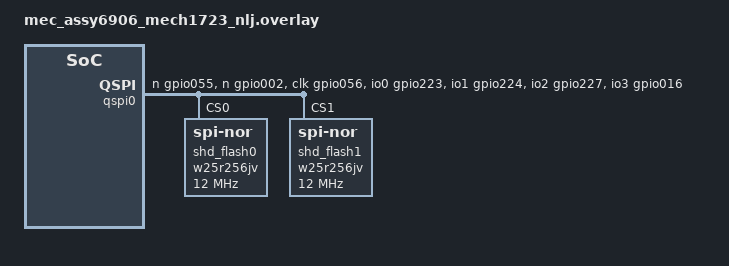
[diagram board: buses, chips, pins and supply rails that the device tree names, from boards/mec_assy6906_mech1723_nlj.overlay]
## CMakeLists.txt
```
# SPDX-License-Identifier: Apache-2.0

cmake_minimum_required(VERSION 3.20.0)

find_package(Zephyr REQUIRED HINTS $ENV{ZEPHYR_BASE})
project(espi_target_taf)

FILE(GLOB app_sources src/*.c)
target_sources(app PRIVATE ${app_sources})
```

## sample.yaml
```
sample:
  name: Exercise eSPI driver connected to real eSPI Host controller
tests:
  sample.boards.mchp_mec5.espi_target_taf:
    build_only: true
    platform_allow:
      - mec_assy6906/mech1723_nsz
      - mec_assy6906/mech1723_nlj
      - mec_assy6941/mec1743_qlj
      - mec_assy6941/mec1743_qsz
      - mec_assy6941/mec1753_qlj
      - mec_assy6941/mec1753_qsz
    tags: drivers espi
```

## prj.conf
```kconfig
CONFIG_LOG=y
CONFIG_LOG_MODE_IMMEDIATE=y
#CONFIG_LOG_MODE_MINIMAL=y
# !!! WARNING: deferred and buffer size not working.
# !!! log_panic() does not output messages.
#CONFIG_LOG_MODE_DEFERRED=y
#CONFIG_LOG_BUFFER_SIZE=4096
CONFIG_LOG_BACKEND_UART=y
#CONFIG_LOG_BACKEND_SWO=y
#CONFIG_LOG_BACKEND_SWO_REF_FREQ_HZ=96000000
#CONFIG_LOG_BACKEND_SWO_FREQ_HZ=4000000

CONFIG_GPIO=y
CONFIG_PINCTRL=y
CONFIG_LED=y
CONFIG_SPI=y
CONFIG_SERIAL=y
CONFIG_CONSOLE=y
CONFIG_UART_CONSOLE=y
CONFIG_I2C=y
CONFIG_FLASH=y
CONFIG_SPI_NOR=y
# spi-nor driver detects if flash supports 32-bit addressing and enables it
CONFIG_SPI_NOR_SFDP_RUNTIME=y
CONFIG_FLASH_JESD216_API=y

CONFIG_ESPI=y
CONFIG_ESPI_MEC5=y
CONFIG_ESPI_PERIPHERAL_8042_KBC=y
CONFIG_ESPI_PERIPHERAL_EC_HOST_CMD=y
CONFIG_ESPI_PERIPHERAL_ACPI_SHM_REGION=y
CONFIG_ESPI_PERIPHERAL_CUSTOM_OPCODE=y
CONFIG_ESPI_AUTOMATIC_WARNING_ACKNOWLEDGE=n
CONFIG_ESPI_AUTOMATIC_BOOT_DONE_ACKNOWLEDGE=n
# driver debug messages
# CONFIG_ESPI_LOG_LEVEL_DBG=y
CONFIG_ESPI_TAF=y
CONFIG_ESPI_TAF_MEC5=y

# test build
CONFIG_ADC=y
CONFIG_DMA=y
CONFIG_I2C=y
CONFIG_PWM=y
CONFIG_SENSOR=y
CONFIG_TACH_MEC5=y

CONFIG_PM=n

# Tinycrypt software library
# CONFIG_TINYCRYPT=y
# CONFIG_TINYCRYPT_SHA256=y
# CONFIG_TINYCRYPT_SHA256_HMAC=y
# CONFIG_TINYCRYPT_SHA256_HMAC_PRNG=y

# Help debug new code
# CONFIG_DEBUG_COREDUMP=y
# CONFIG_TRAP_UNALIGNED_ACCESS=y
# CONFIG_DEBUG=y
```

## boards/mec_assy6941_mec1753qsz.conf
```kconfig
CONFIG_ESPI_TAF_MEC5_RPMC_SUPPORT=y
```

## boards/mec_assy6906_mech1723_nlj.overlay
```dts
/*
 * Copyright (c) 2025 Microchip Technology Inc.
 *
 * SPDX-License-Identifier: Apache-2.0
 */

/* mec_assy6906 EVB with MEC1723N-LJ daughter card
 * MEC1723 does not have an internal SPI flash.
 */

#include "mec_common.dtsi"

&qspi0 {
	compatible = "microchip,mec5-qspi";
	status = "okay";
	pinctrl-0 = < &qspi_shd_cs0_n_gpio055
		      &qspi_shd_cs1_n_gpio002
		      &qspi_shd_clk_gpio056
		      &qspi_shd_io0_gpio223
		      &qspi_shd_io1_gpio224
		      &qspi_shd_io2_gpio227
		      &qspi_shd_io3_gpio016 >;
	pinctrl-names = "default";

	/* RPMC capable flash connected to chip select 0 */
	shd_flash0: w25r256jv@0 {
		compatible ="jedec,spi-nor";
		/* 32 Mbit Flash */
		size = <DT_SIZE_M(32)>;
		page-size = <256>;
		reg = <0>;
		spi-max-frequency = <DT_FREQ_M(12)>;
		has-dpd;
		t-enter-dpd = <3000>;
		t-exit-dpd = <3000>;
		status = "okay";
		jedec-id = [ef 40 19];
	};

	/* RPMC capable flash connected to chip select 1 */
	shd_flash1: w25r256jv@1 {
		compatible ="jedec,spi-nor";
		/* 32 Mbit Flash */
		size = <DT_SIZE_M(32)>;
		page-size = <256>;
		reg = <1>;
		spi-max-frequency = <DT_FREQ_M(12)>;
		has-dpd;
		t-enter-dpd = <3000>;
		t-exit-dpd = <3000>;
		status = "okay";
		jedec-id = [ef 40 19];
	};
};

&vw_slp_s3_n {
	reset-state = <1>;
};

&vw_slp_s4_n {
	reset-state = <1>;
};

&vw_slp_s5_n {
	reset-state = <1>;
};

&vw_sus_stat_n {
	reset-state = <1>;
};

&vw_pltrst_n {
	reset-state = <1>;
};

&vw_oob_rst_warn {
	reset-state = <1>;
};
```

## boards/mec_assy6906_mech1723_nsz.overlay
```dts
/*
 * Copyright (c) 2025 Microchip Technology Inc.
 *
 * SPDX-License-Identifier: Apache-2.0
 */

/* mec_assy6906 EVB with MEC1723N-SZ daughter card
 * MEC1723 does not have an internal SPI flash.
 */

#include "mec_common.dtsi"

&qspi0 {
	compatible = "microchip,mec5-qspi";
	status = "okay";
	pinctrl-0 = < &qspi_shd_cs0_n_gpio055
		      &qspi_shd_cs1_n_gpio002
		      &qspi_shd_clk_gpio056
		      &qspi_shd_io0_gpio223
		      &qspi_shd_io1_gpio224
		      &qspi_shd_io2_gpio227
		      &qspi_shd_io3_gpio016 >;
	pinctrl-names = "default";

	/* RPMC capable flash connected to chip select 0 */
	shd_flash0: w25r256jv@0 {
		compatible ="jedec,spi-nor";
		/* 32 Mbit Flash */
		size = <DT_SIZE_M(32)>;
		page-size = <256>;
		reg = <0>;
		spi-max-frequency = <DT_FREQ_M(12)>;
		has-dpd;
		t-enter-dpd = <3000>;
		t-exit-dpd = <3000>;
		status = "okay";
		jedec-id = [ef 40 19];
	};

	/* RPMC capable flash connected to chip select 1 */
	shd_flash1: w25r256jv@1 {
		compatible ="jedec,spi-nor";
		/* 32 Mbit Flash */
		size = <DT_SIZE_M(32)>;
		page-size = <256>;
		reg = <1>;
		spi-max-frequency = <DT_FREQ_M(12)>;
		has-dpd;
		t-enter-dpd = <3000>;
		t-exit-dpd = <3000>;
		status = "okay";
		jedec-id = [ef 40 19];
	};
};

&vw_slp_s3_n {
	reset-state = <1>;
};

&vw_slp_s4_n {
	reset-state = <1>;
};

&vw_slp_s5_n {
	reset-state = <1>;
};

&vw_sus_stat_n {
	reset-state = <1>;
};

&vw_pltrst_n {
	reset-state = <1>;
};

&vw_oob_rst_warn {
	reset-state = <1>;
};
```

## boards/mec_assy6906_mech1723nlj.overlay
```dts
/*
 * Copyright (c) 2023 Microchip Technology Inc.
 *
 * SPDX-License-Identifier: Apache-2.0
 */

/* mec_assy6906 EVB with MEC1723N-LJ daughter card
 * MEC1723 does not have an internal SPI flash.
 */

#include "mec_common.dtsi"

&qspi0 {
	compatible = "microchip,mec5-qspi";
	status = "okay";
	pinctrl-0 = < &qspi_shd_cs0_n_gpio055
		      &qspi_shd_cs1_n_gpio002
		      &qspi_shd_clk_gpio056
		      &qspi_shd_io0_gpio223
		      &qspi_shd_io1_gpio224
		      &qspi_shd_io2_gpio227
		      &qspi_shd_io3_gpio016 >;
	pinctrl-names = "default";

	/* RPMC capable flash connected to chip select 0 */
	shd_flash0: w25r256jv@0 {
		compatible ="jedec,spi-nor";
		/* 32 Mbit Flash */
		size = <DT_SIZE_M(32)>;
		page-size = <256>;
		reg = <0>;
		spi-max-frequency = <DT_FREQ_M(12)>;
		has-dpd;
		t-enter-dpd = <3000>;
		t-exit-dpd = <3000>;
		status = "okay";
		jedec-id = [ef 40 19];
	};

	/* RPMC capable flash connected to chip select 1 */
	shd_flash1: w25r256jv@1 {
		compatible ="jedec,spi-nor";
		/* 32 Mbit Flash */
		size = <DT_SIZE_M(32)>;
		page-size = <256>;
		reg = <1>;
		spi-max-frequency = <DT_FREQ_M(12)>;
		has-dpd;
		t-enter-dpd = <3000>;
		t-exit-dpd = <3000>;
		status = "okay";
		jedec-id = [ef 40 19];
	};
};

&vw_slp_s3_n {
	reset-state = <1>;
};

&vw_slp_s4_n {
	reset-state = <1>;
};

&vw_slp_s5_n {
	reset-state = <1>;
};

&vw_sus_stat_n {
	reset-state = <1>;
};

&vw_pltrst_n {
	reset-state = <1>;
};

&vw_oob_rst_warn {
	reset-state = <1>;
};
```

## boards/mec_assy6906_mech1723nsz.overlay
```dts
/*
 * Copyright (c) 2023 Microchip Technology Inc.
 *
 * SPDX-License-Identifier: Apache-2.0
 */

/* mec_assy6906 EVB with MEC1723N-SZ daughter card
 * MEC1723 does not have an internal SPI flash.
 */

#include "mec_common.dtsi"

&qspi0 {
	compatible = "microchip,mec5-qspi";
	status = "okay";
	pinctrl-0 = < &qspi_shd_cs0_n_gpio055
		      &qspi_shd_cs1_n_gpio002
		      &qspi_shd_clk_gpio056
		      &qspi_shd_io0_gpio223
		      &qspi_shd_io1_gpio224
		      &qspi_shd_io2_gpio227
		      &qspi_shd_io3_gpio016 >;
	pinctrl-names = "default";

	/* RPMC capable flash connected to chip select 0 */
	shd_flash0: w25r256jv@0 {
		compatible ="jedec,spi-nor";
		/* 32 Mbit Flash */
		size = <DT_SIZE_M(32)>;
		page-size = <256>;
		reg = <0>;
		spi-max-frequency = <DT_FREQ_M(12)>;
		has-dpd;
		t-enter-dpd = <3000>;
		t-exit-dpd = <3000>;
		status = "okay";
		jedec-id = [ef 40 19];
	};

	/* RPMC capable flash connected to chip select 1 */
	shd_flash1: w25r256jv@1 {
		compatible ="jedec,spi-nor";
		/* 32 Mbit Flash */
		size = <DT_SIZE_M(32)>;
		page-size = <256>;
		reg = <1>;
		spi-max-frequency = <DT_FREQ_M(12)>;
		has-dpd;
		t-enter-dpd = <3000>;
		t-exit-dpd = <3000>;
		status = "okay";
		jedec-id = [ef 40 19];
	};
};

&vw_slp_s3_n {
	reset-state = <1>;
};

&vw_slp_s4_n {
	reset-state = <1>;
};

&vw_slp_s5_n {
	reset-state = <1>;
};

&vw_sus_stat_n {
	reset-state = <1>;
};

&vw_pltrst_n {
	reset-state = <1>;
};

&vw_oob_rst_warn {
	reset-state = <1>;
};
```

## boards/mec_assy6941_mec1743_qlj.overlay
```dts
/*
 * Copyright (c) 2025 Microchip Technology Inc.
 *
 * SPDX-License-Identifier: Apache-2.0
 */

/* mec_assy6941 EVB with MEC1743Q-LJ daughter card
 * MEC1743 does not have an internal SPI flash.
 */

#include "mec_common.dtsi"

&qspi0 {
	compatible = "microchip,mec5-qspi";
	status = "okay";
	pinctrl-0 = < &qspi_shd_cs0_n_gpio055
		      &qspi_shd_cs1_n_gpio002
		      &qspi_shd_clk_gpio056
		      &qspi_shd_io0_gpio223
		      &qspi_shd_io1_gpio224
		      &qspi_shd_io2_gpio227
		      &qspi_shd_io3_gpio016 >;
	pinctrl-names = "default";

	/* RPMC capable flash connected to chip select 0 */
	shd_flash0: w25r256jv@0 {
		compatible ="jedec,spi-nor";
		/* 32 Mbit Flash */
		size = <DT_SIZE_M(32)>;
		page-size = <256>;
		reg = <0>;
		spi-max-frequency = <DT_FREQ_M(12)>;
		has-dpd;
		t-enter-dpd = <3000>;
		t-exit-dpd = <3000>;
		status = "okay";
		jedec-id = [ef 40 19];
	};

	/* RPMC capable flash connected to chip select 1 */
	shd_flash1: w25r256jv@1 {
		compatible ="jedec,spi-nor";
		/* 32 Mbit Flash */
		size = <DT_SIZE_M(32)>;
		page-size = <256>;
		reg = <1>;
		spi-max-frequency = <DT_FREQ_M(12)>;
		has-dpd;
		t-enter-dpd = <3000>;
		t-exit-dpd = <3000>;
		status = "okay";
		jedec-id = [ef 40 19];
	};
};

&vw_slp_s3_n {
	reset-state = <1>;
};

&vw_slp_s4_n {
	reset-state = <1>;
};

&vw_slp_s5_n {
	reset-state = <1>;
};

&vw_sus_stat_n {
	reset-state = <1>;
};

&vw_pltrst_n {
	reset-state = <1>;
};

&vw_oob_rst_warn {
	reset-state = <1>;
};
```

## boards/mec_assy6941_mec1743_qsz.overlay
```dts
/*
 * Copyright (c) 2025 Microchip Technology Inc.
 *
 * SPDX-License-Identifier: Apache-2.0
 */

/* mec_assy6941 EVB with MEC1743Q-SZ daughter card
 * MEC1743 does not have an internal SPI flash.
 */

#include "mec_common.dtsi"

&qspi0 {
	compatible = "microchip,mec5-qspi";
	status = "okay";
	pinctrl-0 = < &qspi_shd_cs0_n_gpio055
		      &qspi_shd_cs1_n_gpio002
		      &qspi_shd_clk_gpio056
		      &qspi_shd_io0_gpio223
		      &qspi_shd_io1_gpio224
		      &qspi_shd_io2_gpio227
		      &qspi_shd_io3_gpio016 >;
	pinctrl-names = "default";

	/* RPMC capable flash connected to chip select 0 */
	shd_flash0: w25r256jv@0 {
		compatible ="jedec,spi-nor";
		/* 32 Mbit Flash */
		size = <DT_SIZE_M(32)>;
		page-size = <256>;
		reg = <0>;
		spi-max-frequency = <DT_FREQ_M(12)>;
		has-dpd;
		t-enter-dpd = <3000>;
		t-exit-dpd = <3000>;
		status = "okay";
		jedec-id = [ef 40 19];
	};

	/* RPMC capable flash connected to chip select 1 */
	shd_flash1: w25r256jv@1 {
		compatible ="jedec,spi-nor";
		/* 32 Mbit Flash */
		size = <DT_SIZE_M(32)>;
		page-size = <256>;
		reg = <1>;
		spi-max-frequency = <DT_FREQ_M(12)>;
		has-dpd;
		t-enter-dpd = <3000>;
		t-exit-dpd = <3000>;
		status = "okay";
		jedec-id = [ef 40 19];
	};
};

&vw_slp_s3_n {
	reset-state = <1>;
};

&vw_slp_s4_n {
	reset-state = <1>;
};

&vw_slp_s5_n {
	reset-state = <1>;
};

&vw_sus_stat_n {
	reset-state = <1>;
};

&vw_pltrst_n {
	reset-state = <1>;
};

&vw_oob_rst_warn {
	reset-state = <1>;
};
```

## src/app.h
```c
/* Copyright (c) 2024 Microchip Technology Inc.
 * SPDX-License-Identifier: Apache-2.0
 */

#ifndef __APP_H__
#define __APP_H__

#include <stddef.h>
#include <stdint.h>

uint32_t app_flash_jedec_id(uint8_t cs);

#endif /* __APP_H__ */
```

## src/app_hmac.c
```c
/*
 * Copyright (c) 2022 Microchip Technology Inc.
 *
 * SPDX-License-Identifier: Apache-2.0
 */

#include <errno.h>
#include <soc.h>
#include <string.h>
#include <zephyr/kernel.h>
#include <zephyr/logging/log_ctrl.h>
#include <zephyr/logging/log.h>

LOG_MODULE_DECLARE(app);

#include "app_hmac.h"

#if defined(CONFIG_HAS_MEC5_HAL)
#include <mec_rom_api.h>
#elif defined(CONFIG_TINYCRYPT)
#include <tinycrypt/constants.h>
#include <tinycrypt/hmac.h>
#include <tinycrypt/hmac_prng.h>
#else
#error "BUILD ERROR: No crypto library defined in project!"
#endif

static const uint8_t hmac_key4[25] = {
	0x01, 0x02, 0x03, 0x04, 0x05, 0x06, 0x07, 0x08,
	0x09, 0x0a, 0x0b, 0x0c, 0x0d, 0x0e, 0x0f, 0x10,
	0x11, 0x12, 0x13, 0x14, 0x15, 0x16, 0x17, 0x18,
	0x19
};
static const uint8_t hmac_msg4[50] = {
	0xcd, 0xcd, 0xcd, 0xcd, 0xcd, 0xcd, 0xcd, 0xcd,
	0xcd, 0xcd, 0xcd, 0xcd, 0xcd, 0xcd, 0xcd, 0xcd,
	0xcd, 0xcd, 0xcd, 0xcd, 0xcd, 0xcd, 0xcd, 0xcd,
	0xcd, 0xcd, 0xcd, 0xcd, 0xcd, 0xcd, 0xcd, 0xcd,
	0xcd, 0xcd, 0xcd, 0xcd, 0xcd, 0xcd, 0xcd, 0xcd,
	0xcd, 0xcd, 0xcd, 0xcd, 0xcd, 0xcd, 0xcd, 0xcd,
	0xcd, 0xcd
};
static const uint8_t hmac_digest4[32] = {
	0x82, 0x55, 0x8a, 0x38, 0x9a, 0x44, 0x3c, 0x0e,
	0xa4, 0xcc, 0x81, 0x98, 0x99, 0xf2, 0x08, 0x3a,
	0x85, 0xf0, 0xfa, 0xa3, 0xe5, 0x78, 0xf8, 0x07,
	0x7a, 0x2e, 0x3f, 0xf4, 0x67, 0x29, 0x66, 0x5b
};

static const uint8_t key131[] = {
	0xaa, 0xaa, 0xaa, 0xaa, 0xaa, 0xaa, 0xaa, 0xaa,
	0xaa, 0xaa, 0xaa, 0xaa, 0xaa, 0xaa, 0xaa, 0xaa,
	0xaa, 0xaa, 0xaa, 0xaa, 0xaa, 0xaa, 0xaa, 0xaa,
	0xaa, 0xaa, 0xaa, 0xaa, 0xaa, 0xaa, 0xaa, 0xaa,
	0xaa, 0xaa, 0xaa, 0xaa, 0xaa, 0xaa, 0xaa, 0xaa,
	0xaa, 0xaa, 0xaa, 0xaa, 0xaa, 0xaa, 0xaa, 0xaa,
	0xaa, 0xaa, 0xaa, 0xaa, 0xaa, 0xaa, 0xaa, 0xaa,
	0xaa, 0xaa, 0xaa, 0xaa, 0xaa, 0xaa, 0xaa, 0xaa,
	0xaa, 0xaa, 0xaa, 0xaa, 0xaa, 0xaa, 0xaa, 0xaa,
	0xaa, 0xaa, 0xaa, 0xaa, 0xaa, 0xaa, 0xaa, 0xaa,
	0xaa, 0xaa, 0xaa, 0xaa, 0xaa, 0xaa, 0xaa, 0xaa,
	0xaa, 0xaa, 0xaa, 0xaa, 0xaa, 0xaa, 0xaa, 0xaa,
	0xaa, 0xaa, 0xaa, 0xaa, 0xaa, 0xaa, 0xaa, 0xaa,
	0xaa, 0xaa, 0xaa, 0xaa, 0xaa, 0xaa, 0xaa, 0xaa,
	0xaa, 0xaa, 0xaa, 0xaa, 0xaa, 0xaa, 0xaa, 0xaa,
	0xaa, 0xaa, 0xaa, 0xaa, 0xaa, 0xaa, 0xaa, 0xaa,
	0xaa, 0xaa, 0xaa };

static const uint8_t msg54[] = {
	0x54, 0x65, 0x73, 0x74, 0x20, 0x55, 0x73, 0x69,
	0x6e, 0x67, 0x20, 0x4c, 0x61, 0x72, 0x67, 0x65,
	0x72, 0x20, 0x54, 0x68, 0x61, 0x6e, 0x20, 0x42,
	0x6c, 0x6f, 0x63, 0x6b, 0x2d, 0x53, 0x69, 0x7a,
	0x65, 0x20, 0x4b, 0x65, 0x79, 0x20, 0x2d, 0x20,
	0x48, 0x61, 0x73, 0x68, 0x20, 0x4b, 0x65, 0x79,
	0x20, 0x46, 0x69, 0x72, 0x73, 0x74 };

static const uint8_t msg54_k131_hmac_sha256[] = {
	0x60, 0xe4, 0x31, 0x59, 0x1e, 0xe0, 0xb6, 0x7f,
	0x0d, 0x8a, 0x26, 0xaa, 0xcb, 0xf5, 0xb7, 0x7f,
	0x8e, 0x0b, 0xc6, 0x21, 0x37, 0x28, 0xc5, 0x14,
	0x05, 0x46, 0x04, 0x0f, 0x0e, 0xe3, 0x7f, 0x54 };

static int hmac_test(void)
{
	uint8_t result[32] = {0};

	int ret = app_hmac_sha256_mesg(hmac_key4, sizeof(hmac_key4),
				       hmac_msg4, sizeof(hmac_msg4),
				       result, sizeof(result));
	if (ret) {
		return ret;
	}

	ret = memcmp(result, hmac_digest4, sizeof(hmac_digest4));
	if (ret) {
		return ret;
	}

	memset(result, 0, sizeof(result));
	ret = app_hmac_sha256_mesg(key131, sizeof(key131),
				   msg54, sizeof(msg54),
				   result, sizeof(result));
	if (ret) {
		return ret;
	}

	ret = memcmp(result, msg54_k131_hmac_sha256, sizeof(msg54_k131_hmac_sha256));

	return ret;
}

#ifdef CONFIG_HAS_MEC5_HAL

K_SEM_DEFINE(sem_rom_aesh, 1, 1);

static struct mchphmac2 hmac_ctx;
static uint32_t k0[64 / 4];
static uint8_t __aligned(4) hmac_state[128];

int app_crypto_init(void)
{
	memset(&hmac_ctx, 0, sizeof(hmac_ctx));

	mec_hal_rom_crypto_enable(1);

	int ret = mec_hal_rom_rng_init();

	if (ret != 0) {
		LOG_ERR("App unable to initialize HW RNG");
		return -EIO;
	}

	mec_hal_rom_rng_enable(true);

	return 0;
}

int app_get_rand(uint8_t *dest, size_t destsz, uint16_t req_nbytes)
{
	int ret = 0;
	uint16_t nr = 0;

	if (destsz < req_nbytes) {
		return -EINVAL;
	}

	if (!mec_hal_rom_rng_is_fifo_full()) {
		return -EBUSY;
	}

	if (!mec_hal_rom_rng_is_healthy()) {
		return -EIO;
	}

	ret = mec_hal_rom_rng_read_bytes_nh(dest, req_nbytes, &nr);

	if (ret || (nr < req_nbytes)) {
		return -EIO;
	}

	return 0;
}

/* Any of the three ROM HMAC2 calls could start the HW engine.
 * We must call ROM hash wait which returns immediately if the engine was not started.
 */
int app_hmac_sha256_mesg(const uint8_t *key, size_t keysz,
			 const uint8_t *msg, size_t msgsz,
			 uint8_t *result, size_t resultsz)
{
	int ret = 0;

	k_sem_take(&sem_rom_aesh, K_FOREVER);

	ret = mec_hal_rom_hmac2_init(MCHP_HASH_ALG_SHA256, &hmac_ctx, key, keysz, k0, sizeof(k0));
	if (ret != 0) {
		ret = -EIO;
		goto app_hmac_sha256_mesg_exit;
	}

	ret = mec_hal_rom_hash_wait(&hmac_ctx.c);
	if (ret != 0) {
		LOG_ERR("Hash wait1 unexpected return code: (%d)", ret);
		ret = -ETIMEDOUT;
		goto app_hmac_sha256_mesg_exit;
	}

	ret = mec_hal_rom_hmac2_add_data_block(&hmac_ctx, hmac_state, sizeof(hmac_state),
					       k0, sizeof(k0), msg, msgsz, true);
	if (ret != 0) {
		ret = -EIO;
		goto app_hmac_sha256_mesg_exit;
	}

	ret = mec_hal_rom_hash_wait(&hmac_ctx.c);
	if (ret != 0) {
		LOG_ERR("Hash wait2 unexpected return code: (%d)", ret);
		ret = -ETIMEDOUT;
		goto app_hmac_sha256_mesg_exit;
	}

	ret = mec_hal_rom_hmac2_final(&hmac_ctx, hmac_state, sizeof(hmac_state), k0, sizeof(k0),
				      result, resultsz);
	if (ret != 0) {
		ret = -EIO;
		goto app_hmac_sha256_mesg_exit;
	}

	ret = mec_hal_rom_hash_wait(&hmac_ctx.c);
	if (ret != 0) {
		LOG_ERR("Hash wait3 unexpected return code: (%d)", ret);
		ret = -ETIMEDOUT;
	}

app_hmac_sha256_mesg_exit:
	k_sem_give(&sem_rom_aesh);

	return ret;
}

int app_hmac_test(void)
{
	return hmac_test();
}

#elif CONFIG_TINYCRYPT_SHA256_HMAC

static const char tc_hprng0_ps[] = "TC HPRNG0 PS";
/* TinyCrypt HMAC PRNG minimum seed length is 32 bytes */
static const char tc_hprng0_seed[] = "TC SEED minimum Length is 32 bytes";
static const char tc_hprng0_addin[] = "TC ADDITIONAL INPUT0";

struct tc_hmac_prng_struct tc_hprng0;

int app_crypto_init(void)
{
	int ret = tc_hmac_prng_init(&tc_hprng0, tc_hprng0_ps, sizeof(tc_hprng0_ps));

	if (ret == TC_CRYPTO_SUCCESS) {
		return 0;
	}

	return -EIO;
}

int app_get_rand(uint8_t *dest, size_t destsz, size_t req_nbytes)
{
	int ret;

	if (destsz < req_nbytes) {
		return -EINVAL;
	}

	ret = tc_hmac_prng_generate(dest, (unsigned int)req_nbytes, &tc_hprng0);
	if (ret == TC_CRYPTO_SUCCESS) {
		ret = 0;
	} else if (ret == TC_HMAC_PRNG_RESEED_REQ) {
		ret = tc_hmac_prng_reseed(&tc_hprng0, tc_hprng0_seed, sizeof(tc_hprng0_seed),
					  tc_hprng0_addin, sizeof(tc_hprng0_addin));
		if (ret == TC_CRYPTO_SUCCESS) {
			ret = tc_hmac_prng_generate(dest, (unsigned int)req_nbytes, &tc_hprng0);
			if (ret == TC_CRYPTO_SUCCESS) {
				ret = 0;
			} else {
				ret = -EIO;
			}
		} else {
			ret = -EIO;
		}
	} else {
		ret = -EIO;
	}

	return ret;
}

int app_hmac_sha256_mesg(const uint8_t *key, size_t keysz,
			 const uint8_t *msg, size_t msgsz,
			 uint8_t *result, size_t resultsz)
{
	struct tc_hmac_state_struct hctx;
	int ret = tc_hmac_set_key(&hctx, key, keysz);

	if (ret != TC_CRYPTO_SUCCESS) {
		return -EINVAL;
	}

	ret = tc_hmac_init(&hctx);
	if (ret != TC_CRYPTO_SUCCESS) {
		return -EINVAL;
	}

	ret = tc_hmac_update(&hctx, msg, msgsz);
	if (ret != TC_CRYPTO_SUCCESS) {
		return -EINVAL;
	}

	ret = tc_hmac_final(result, resultsz, &hctx);
	if (ret != TC_CRYPTO_SUCCESS) {
		return -EINVAL;
	}

	return 0;
}

int app_hmac_test(void)
{
	return hmac_test();
}

#else

int app_crypto_init(void)
{
	return -ENOSYS;
}

int app_hmac_sha256_mesg(const uint8_t *key, size_t keysz,
			 const uint8_t *msg, size_t msgsz,
			 uint8_t *result, size_t resultsz)
{
	return -ENOSYS;
}

int app_hmac_test(void)
{
	return -ENOSYS;
}
#endif
```

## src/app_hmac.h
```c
/* Copyright (c) 2024 Microchip Technology Inc.
 * SPDX-License-Identifier: Apache-2.0
 */

#ifndef __APP_HMAC_H__
#define __APP_HMAC_H__

#include <stddef.h>
#include <stdint.h>

int app_crypto_init(void);

int app_get_rand(uint8_t *dest, size_t destsz, uint16_t req_nbytes);

int app_hmac_sha256_mesg(const uint8_t *key, size_t keysz,
			 const uint8_t *msg, size_t msgsz,
			 uint8_t *result, size_t resultsz);

int app_hmac_test(void);

#endif /* __APP_HMAC_H__ */
```

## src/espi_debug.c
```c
/*
 * Copyright (c) 2023 Microchip Technology, Inc.
 *
 * SPDX-License-Identifier: Apache-2.0
 */

#include <errno.h>
#include <stdint.h>
#include <string.h>

#include <soc.h>

#include <zephyr/device.h>
#include <zephyr/devicetree.h>
#include <zephyr/kernel.h>
#include <zephyr/drivers/gpio.h>
#include <zephyr/drivers/pinctrl.h>
#include <zephyr/sys/sys_io.h>

#include <zephyr/logging/log_ctrl.h>
#include <zephyr/logging/log.h>
LOG_MODULE_DECLARE(app);

#include "espi_debug.h"

const char *iobar_names[] = {
	"eSPI Config Port IOB",
	"eSPI Mem Port IOB",
	"Mailbox IOB",
	"KBC IOB",
	"ACPI EC0 IOB",
	"ACPI EC1 IOB",
	"ACPI EC2 IOB",
	"ACPI EC3 IOB",
	"ACPI EC4 IOB",
	"ACPI PM1 IOB",
	"KB Port92h IOB",
	"UART0 IOB",
	"UART1 IOB",
	"EMI0 IOB",
	"EMI1 IOB",
	"EMI2 IOB",
	"BIOS Debug IOB",
	"BIOS Debug Alias IOB",
	"RTC IOB",
	"Reserved19",
	"T32B IOB",
	"UART2 IOB",
	"Glue IOB",
	"UART3 IOB",
	"Reserved24",
	"Reserved25",
	"Reserved26",
	"Reserved27",
	"Reserved28",
	"Reserved29",
	"Reserved30",
	"Reserved31",
};

const char *membar_names[] = {
	"Mailbox MEMB",
	"ACPI EC0 MEMB",
	"ACPI EC1 MEMB",
	"ACPI EC2 MEMB",
	"ACPI EC3 MEMB",
	"ACPI EC4 MEMB",
	"EMI0 MEMB",
	"EMI1 MEMB",
	"EMI2 MEMB",
	"T32B MEMB",
};

void espi_debug_print_config(void)
{
	mem_addr_t maddr;
	uint32_t data;

	maddr = (mem_addr_t)&MEC_ESPI_IO->CAPID;
	data = sys_read32(maddr);
	LOG_HEXDUMP_INF(&data, 4, "eSPI CapID:Cap0:Cap1:PC_Cap");

	maddr = (mem_addr_t)&MEC_ESPI_IO->CAPVW;
	data = sys_read32(maddr);
	LOG_HEXDUMP_INF(&data, 4, "eSPI VW_Cap:OOB_Cap:FC_Cap:PCRDY");

	maddr = (mem_addr_t)&MEC_ESPI_IO->OOBRDY;
	data = sys_read32(maddr);
	LOG_HEXDUMP_INF(&data, 4, "eSPI OOBRDY:FCRDY:ERIS:ERIE");

	maddr = (mem_addr_t)&MEC_ESPI_IO->PLTRST_SRC;
	data = sys_read32(maddr);
	LOG_HEXDUMP_INF(&data, 4, "eSPI PLTRST_SRC:VWRDY:SAFEBS:RSVD");

	LOG_INF("eSPI Activate = %u", MEC_ESPI_IO->ACTV);

	LOG_INF("eSPI PC.Status = 0x%08x", MEC_ESPI_IO->PCSTS);
	LOG_INF("eSPI VW.Status = 0x%02x", MEC_ESPI_IO->VWSTS);
}

void espi_debug_print_io_bars(void)
{
	uint32_t n, iobar;

	for (n = 0; n < 32u; n++) {
		if (BIT(n) & MEC5_ESPI_IOBAR_MSK_LO) {
			iobar = MEC_ESPI_IO->HOST_BAR[n];
			LOG_INF("IOBAR[%u] (%s) = 0x%08x", n, iobar_names[n], iobar);
		}
	}
}

void espi_debug_print_mem_bars(void)
{
	uint32_t n, membar;

	for (n = 0; n < 32u; n++) {
		if (BIT(n) & MEC5_ESPI_MEMBAR_MSK_LO) {
			volatile struct mec_espi_mem_host_mem_bar_regs *m =
				&MEC_ESPI_MEM->HOST_MEM_BAR[n];

			membar = m->HOST_MEM_ADDR_B15_0 +
				((uint32_t)m->HOST_MEM_ADDR_B31_16 << 16);
			LOG_INF("MEMBAR[%u] (%s) = 0x%08x valid = %u",
				n, membar_names[n], membar, m->VALID);
		}
	}
}

void espi_debug_print_ctvw(void)
{
	uint32_t r[3];

	for (size_t n = 0; n < MEC5_ESPI_NUM_CTVW; n++) {
		r[0] = MEC_ESPI_VW->CTVW[n].HIRSS;
		r[1] = MEC_ESPI_VW->CTVW[n].SRC_ISELS;
		r[2] = MEC_ESPI_VW->CTVW[n].STATES;
		LOG_INF("CTVW[%u] = 0x%08x:%08x:%08x", n, r[2], r[1], r[0]);
	}
}

void espi_debug_print_tcvw(void)
{
	uint32_t r[2];

	for (size_t n = 0; n < MEC5_ESPI_NUM_TCVW; n++) {
		r[0] = MEC_ESPI_VW->TCVW[n].HIRCS;
		r[1] = MEC_ESPI_VW->TCVW[n].STATES;
		LOG_INF("TCVW[%u] = 0x%08x:%08x", n, r[1], r[0]);
	}
}

void espi_debug_print_pc(void)
{
	LOG_INF("PC.STATUS = 0x%x", MEC_ESPI_IO->PCSTS);
	LOG_INF("PC.IEN    = 0x%x", MEC_ESPI_IO->PCIEN);
	LOG_INF("PC.BAR_INHIBIT = 0x%08x:%08x",
		MEC_ESPI_IO->PCBINH[1], MEC_ESPI_IO->PCBINH[0]);
}

void espi_debug_print_oob(void)
{
	LOG_INF("OOB RX Buf Addr = 0x%x", MEC_ESPI_IO->OOBRXA);
	LOG_INF("OOB RX Xfr Len = 0x%x", MEC_ESPI_IO->OOBRXL);
	LOG_INF("OOB RX Control = 0x%x", MEC_ESPI_IO->OOBRXC);
	LOG_INF("OOB RX IEN = 0x%x", MEC_ESPI_IO->OOBRXIEN);
	LOG_INF("OOB RX Status = 0x%x", MEC_ESPI_IO->OOBRXSTS);
	LOG_INF("OOB TX Buf Addr = 0x%x", MEC_ESPI_IO->OOBTXA);
	LOG_INF("OOB TX Xfr Len = 0x%x", MEC_ESPI_IO->OOBTXL);
	LOG_INF("OOB TX Control = 0x%x", MEC_ESPI_IO->OOBTXC);
	LOG_INF("OOB TX IEN = 0x%x", MEC_ESPI_IO->OOBTXIEN);
	LOG_INF("OOB TX Status = 0x%x", MEC_ESPI_IO->OOBTXSTS);
}

static int espi_freq_tbl[] = {20, 25, 33, 50, 66, -1, -1, -1};

static int lookup_espi_freq(uint32_t freq_encoding)
{
	return espi_freq_tbl[freq_encoding & 0x7u];
}

static void pr_io_mode(uint32_t io_mode)
{
	switch (io_mode) {
	case 0:
		LOG_INF("  Single I/O");
		break;
	case 1:
		LOG_INF("  Single and Dual I/O");
		break;
	case 2:
		LOG_INF("  Single and Quad I/O");
		break;
	case 3:
		LOG_INF("  Single, Dual, and Quad I/O");
		break;
	default:
		break;
	}
}

/* eSPI Capabilities 32-bit word 0x4 read by eSPI Host */
static void pr_cap_8(uint32_t cap)
{
	uint32_t temp;

	LOG_INF("eSPI Cap word 0x8: 0x%08x", cap);
	LOG_INF("  b[7:0] supported channels = 0x%02x", cap & 0xffu);
	temp = (cap >> 12) & 0xfu;
	LOG_INF("  b[15:12] max allowed wait states (0=16 byte times) = 0x%02x", temp);
	temp = lookup_espi_freq((cap >> 16));
	LOG_INF("  b[18:16] max supported freq (MHz) = 0x%02x is %u MHz",
		((cap >> 16) & 0x7u), temp);
	LOG_INF("  b[19] = Open drain alert supported = %u", (cap >> 19) & 0x1u);
	temp = lookup_espi_freq((cap >> 20));
	LOG_INF("  b[22:20] selected frequency (MHz) = 0x%02x", temp);
	LOG_INF("  b[19] = Open drain alert selected = %u", (cap >> 23) & 0x1u);
	temp = (cap >> 24) & 0x3u;
	LOG_INF("  b[25:24] = 0x%02x Supported I/O modes", temp);
	pr_io_mode(temp);
	temp = (cap >> 26) & 0x3u;
	LOG_INF("  b[27:26] = 0x%02x Selected I/O mode", temp);
	pr_io_mode(temp);
	temp = (cap >> 28) & 0x1u;
	LOG_INF("  b[28] = %u : eSPI Alert source 0(eSPI IO[1]), 1(separate pin)", temp);
	temp = (cap >> 29) & 0x1u;
	LOG_INF("  b[29] = %u : BMC has integrated RTC 0(no), 1(yes)", temp);
	temp = (cap >> 30) & 0x1u;
	LOG_INF("  b[30] = %u : GET_STATUS response modifier 0(disabled), 1(enabled)", temp);
	temp = (cap >> 31) & 0x1u;
	LOG_INF("  b[31] = %u : CRC packet check 0(disabled), 1(enabled)", temp);
}

static void pr_payload_size(uint32_t sz, uint8_t is_oob)
{
	uint32_t byte_size;

	switch (sz & 0x7u) {
	case 1:
		byte_size = 64u;
		break;
	case 2:
		byte_size = 128u;
		break;
	case 3:
		byte_size = 256u;
		break;
	default:
		byte_size = 0u;
		break;
	}

	if (byte_size) {
		if (is_oob) {
			byte_size += 9u;
		}
		LOG_INF("  %u bytes", byte_size);
	} else {
		LOG_INF("  !!! Reserved value !!!");
	}
}

static void pr_max_read_req_size(uint32_t sz)
{
	uint32_t temp;

	if (sz & 0x7u) {
		temp = 1u << (sz + 5u);
		LOG_INF("  %u bytes", temp);
	} else {
		LOG_INF("  !!! Reserved value !!!");
	}
}

static void pr_cap_10(uint32_t cap)
{
	uint32_t temp;

	LOG_INF("eSPI Cap word 0x10 (Peripheral Channel): 0x%08x", cap);
	LOG_INF("  b[0] = PC Enable = %u", cap & 0x1);
	LOG_INF("  b[1] = PC Ready  = %u", (cap >> 1) & 0x1);
	LOG_INF("  b[2] = BM Enable = %u", (cap >> 2) & 0x1);
	LOG_INF("  b[6:4] = Max supported payload size");
	temp = (cap >> 4) & 0x7u;
	pr_payload_size(temp, 0);
	temp = (cap >> 8) & 0x7u;
	LOG_INF("  b[10:8] = Selected payload size = %u", temp);
	pr_payload_size(temp, 0);
	temp = (cap >> 12) & 0x7u;
	LOG_INF("  b[14:12] = Max read request size = %u", temp);
	pr_max_read_req_size(temp);
}

static void pr_cap_20(uint32_t cap)
{
	uint32_t temp;

	LOG_INF("eSPI Cap work 0x20 (VW Channel): 0x%08x", cap);
	LOG_INF("  b[0] = VW Enable = %u", cap & 0x1u);
	LOG_INF("  b[1] = VW Ready  = %u", (cap >> 1) & 0x1u);
	temp = (cap >> 8) & 0x3fu;
	LOG_INF("  b[13:8] = Max Supported VW groups (0-based) = %u", temp);
	temp = (cap >> 16) & 0x3fu;
	LOG_INF("  b[21:16] = Max Selected VW groups (0-based) = %u", temp);
}

static void pr_cap_30(uint32_t cap)
{
	uint32_t temp;

	LOG_INF("eSPI Cap work 0x30 (OOB Channel): 0x%08x", cap);
	LOG_INF("  b[0] = OOB Enable = %u", cap & 0x1u);
	LOG_INF("  b[1] = OOB Ready  = %u", (cap >> 1) & 0x1u);
	temp = (cap >> 4) & 0x7u;
	LOG_INF("  b[6:4] = Max Supported Payload size = %u", temp);
	pr_payload_size(temp, 1);
	temp = (cap >> 8) & 0x7u;
	LOG_INF("  b[6:4] = Max Selected Payload size = %u", temp);
	pr_payload_size(temp, 1);
}

static void pr_fc_erase_size(uint32_t cap)
{
	uint32_t temp = (cap >> 2) & 0x7u;

	LOG_INF("  b[4:2] = Selected Flash Block Erase Size = 0x%2x", temp);
	switch (temp) {
	case 1:
		LOG_INF("  4KB");
		break;
	case 2:
		LOG_INF("  64KB");
		break;
	case 3:
		LOG_INF("  4KB and 64KB");
		break;
	case 4:
		LOG_INF("  128KB");
		break;
	case 5:
		LOG_INF("  256KB");
		break;
	default:
		LOG_INF("  !!! Reserved value !!!");
		break;
	}
}

static void pr_fc_sharing_support(uint32_t cap)
{
	uint32_t temp = (cap >> 16) & 0x3u;

	switch (temp) {
	case 2:
		LOG_INF("  b[17:16]=10b Supports Target Attached Flash only");
		break;
	case 3:
		LOG_INF("  b[17:16]=11b Supports both Controller and Target Attached Flash");
		break;
	default:
		LOG_INF("  b[17:16]=0x%x Supports Controller Attached Flash only", temp);
		break;
	}
}

static void pr_cap_40(uint32_t cap)
{
	uint32_t temp;

	LOG_INF("eSPI Cap work 0x40 (Flash Channel): 0x%08x", cap);
	LOG_INF("  b[0] = FC Enable = %u", cap & 0x1u);
	LOG_INF("  b[1] = FC Ready  = %u", (cap >> 1) & 0x1u);
	pr_fc_erase_size(cap);
	temp = (cap >> 5) & 0x7u;
	LOG_INF("  b[7:5] = 0x%2x Max Supported Payload size", temp);
	pr_payload_size(temp, 0);
	temp = (cap >> 8) & 0x7u;
	LOG_INF("  b[7:5] = 0x%2x Max Selected Payload size", temp);
	pr_payload_size(temp, 0);
	temp = (cap >> 11) & 0x1u;
	LOG_INF("  b[11] Flash Sharing Mode = %u: 0=Controller Attached, 1=Target Attached", temp);
	temp = (cap >> 12) & 0x7u;
	LOG_INF("  b[14:12] Max Reqd Request Size = 0x%2x", temp);
	pr_max_read_req_size(temp);
	pr_fc_sharing_support(cap);
	temp = (cap >> 20) & 0xfu;
	LOG_INF("  b[23:20] RPMC First Flash Number of Counters = %u", temp);
	temp = (cap >> 24) & 0xffu;
	LOG_INF("  b[31:24] RPMC First Flash OP1 Opcode = 0x%02x", temp);
}

void espi_debug_print_cap_word(uint16_t cap_offset, uint32_t cap)
{
	switch (cap_offset) {
	case 0x4:
		LOG_INF("eSPI Cap word 0x4 b[7:0] version ID = 0x%02x", cap);
		break;
	case 0x8:
		pr_cap_8(cap);
		break;
	case 0x10:
		pr_cap_10(cap);
		break;
	case 0x20:
		pr_cap_20(cap);
		break;
	case 0x30:
		pr_cap_30(cap);
		break;
	case 0x40:
		pr_cap_40(cap);
		break;
	default:
		LOG_ERR("Unknown eSPI cap offset 0x%04x = 0x%08x", cap_offset, cap);
	}
}
```

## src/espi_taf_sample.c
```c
/*
 * Copyright (c) 2024 Microchip Technology, Inc.
 *
 * SPDX-License-Identifier: Apache-2.0
 */

#include <errno.h>
#include <stdint.h>
#include <string.h>
#include <soc.h>
#include <mec_acpi_ec_api.h>
#include <mec_espi_api.h>
#include <mec_pcr_api.h>

#include <zephyr/device.h>
#include <zephyr/devicetree.h>
#include <zephyr/kernel.h>
#include <zephyr/drivers/espi.h>
#include <zephyr/drivers/espi_taf.h>
#include <zephyr/drivers/espi/espi_mchp_mec5.h>
#include <zephyr/drivers/espi/espi_taf_mchp_mec5.h>
#include <zephyr/drivers/gpio.h>
#include <zephyr/drivers/led.h>
#include <zephyr/drivers/pinctrl.h>
#include <zephyr/sys/sys_io.h>

#include <zephyr/logging/log_ctrl.h>
#include <zephyr/logging/log.h>
LOG_MODULE_DECLARE(app);

#include "app.h"
#include "espi_taf_sample.h"

#define ESPI_TAF0_NODE DT_NODELABEL(espi_taf0)

static const struct device *espi_taf_dev = DEVICE_DT_GET(ESPI_TAF0_NODE);

struct espi_callback espi_taf_cb_s;

static volatile bool espi_taf_cb_fired;
static volatile struct espi_event espi_taf_cb_event;
static volatile uint32_t espi_taf_cb_data;

#define TAF_TEST_BUF1_LEN 256
static uint8_t taf_test_buf1[TAF_TEST_BUF1_LEN];


/* TODO we need to keep tables for both RPMC and non-RPMC flashes.
 * Take advantage of Zephyr flash driver JEDEC-ID read to determine
 * which table to use.
 */

/* W25R256JV SPI flash SAF configuration.
 * Size is 32Mbytes, it requires no continuous mode prefix, or
 * other special SAF configuration.
 * IMPORTANT: Winbond RPMC SPI flash does not support flash suspend
 * during OP1 operations. We must specify MCHP_FLASH_RPMC_NO_OP1_SUSPEND.
 */

#define W25R256JV_JEDEC_ID 0x001940efu

#define W25R256_RPMC_INFO_CS0 \
	(MCHP_FLASH_RPMC_OP1_DFLT | (4u << MCHP_FLASH_RPMC_OP1_NCTR_POS) | \
	 MCHP_FLASH_RPMC_OP1_FLAG_DISP_CS0_040 | MCHP_FLASH_RPMC_OP1_FLAG_DISP_CS0_PNP)

#define W25R256_RPMC_INFO_CS1 \
	(MCHP_FLASH_RPMC_OP1_DFLT | (4u << MCHP_FLASH_RPMC_OP1_NCTR_POS) | \
	 MCHP_FLASH_RPMC_OP1_FLAG_DISP_CS1_048 | MCHP_FLASH_RPMC_OP1_FLAG_DISP_CS1_PNP)

/* EVB Shared SPI dongle has two W25R256JV (RPMC capable) SPI flash attached to CS0 and CS1 */

struct espi_taf_flash_cfg taf_flash_rpmc_cfgs[2] = {
	{
		.version = 3u,
		.cs = 0u,
		.flags = MCHP_FLASH_FLAG_ADDR32 | MCHP_FLASH_FLAG_RPMC_SR_DIS,
		.flashsz = (1024u * 1024u * 32u),
		.rd_freq_mhz = 24u,
		.freq_mhz = 12u,
		.poll2_mask = (uint16_t)0xFF7Fu,
		.cont_prefix = 0u,
		.opa = MEC_TAF_OPCODE_A(0x06u, 0x75u, 0x7Au, 0x05u),
		.opb = MEC_TAF_OPCODE_B(0x20u, 0x52u, 0xD8u, 0x02u),
		.opc = MEC_TAF_OPCODE_C(0xEBu, 0xFFu, 0xA5u, 0x35u),
		.opd = MEC_TAF_OPCODE_D(0xB9u, 0xABu, MCHP_FLASH_RPMC_OP2_DFLT, 0),
		.rpmc_info = W25R256_RPMC_INFO_CS0,
	},
	{
		.version = 3u,
		.cs = 1u,
		.flags = MCHP_FLASH_FLAG_ADDR32 | MCHP_FLASH_FLAG_RPMC_SR_DIS,
		.flashsz = (1024u * 1024u * 32u),
		.rd_freq_mhz = 24u,
		.freq_mhz = 12u,
		.poll2_mask = (uint16_t)0xFF7Fu,
		.cont_prefix = 0u,
		.opa = MEC_TAF_OPCODE_A(0x06u, 0x75u, 0x7Au, 0x05u),
		.opb = MEC_TAF_OPCODE_B(0x20u, 0x52u, 0xD8u, 0x02u),
		.opc = MEC_TAF_OPCODE_C(0xEBu, 0xFFu, 0xA5u, 0x35u),
		.opd = MEC_TAF_OPCODE_D(0xB9u, 0xABu, MCHP_FLASH_RPMC_OP2_DFLT, 0),
		.rpmc_info = W25R256_RPMC_INFO_CS1,
	},
};

/* EVB Shared SPI dongle has two W25Q128FV SPI flash attached to CS0 and CS1 */
#define W25Q128FV_JEDEC_ID 0x001840efu

struct espi_taf_flash_cfg taf_flash_cfgs[2] = {
	{
		.version = 3u,
		.cs = 0u,
		.flags = MCHP_FLASH_FLAG_PD_EN | MCHP_FLASH_FLAG_PD_EC_WK_EN,
		.flashsz = (1024u * 1024u * 16u),
		.rd_freq_mhz = 24u,
		.freq_mhz = 12u,
		.poll2_mask = (uint16_t)0xFF7Fu,
		.cont_prefix = 0u,
		.opa = MEC_TAF_OPCODE_A(0x06u, 0x75u, 0x7Au, 0x05u),
		.opb = MEC_TAF_OPCODE_B(0x20u, 0x52u, 0xD8u, 0x02u),
		.opc = MEC_TAF_OPCODE_C(0xEBu, 0xFFu, 0xA5u, 0x35u),
		.opd = MEC_TAF_OPCODE_D(0xB9u, 0xABu, 0, 0),
		.rpmc_info = 0u,
	},
	{
		.version = 3u,
		.cs = 1u,
		.flags = MCHP_FLASH_FLAG_PD_EN | MCHP_FLASH_FLAG_PD_EC_WK_EN,
		.flashsz = (1024u * 1024u * 16u),
		.rd_freq_mhz = 24u,
		.freq_mhz = 12u,
		.poll2_mask = (uint16_t)0xFF7Fu,
		.cont_prefix = 0u,
		.opa = MEC_TAF_OPCODE_A(0x06u, 0x75u, 0x7Au, 0x05u),
		.opb = MEC_TAF_OPCODE_B(0x20u, 0x52u, 0xD8u, 0x02u),
		.opc = MEC_TAF_OPCODE_C(0xEBu, 0xFFu, 0xA5u, 0x35u),
		.opd = MEC_TAF_OPCODE_D(0xB9u, 0xABu, 0, 0),
		.rpmc_info = 0u,
	},
};

const struct espi_taf_cfg test_espi_taf_cfg_11 = {
	.nflash_devices = 2u,
	.hwcfg = {
		.version = 3u,
		.qspi_freq_mhz = 12u,
		.qspi_cpha = 0u,
		.flags = (BIT(MEC_ESPI_TAF_HW_CFG_FLAG_FREQ_POS)
			  | BIT(MEC_ESPI_TAF_HW_CFG_FLAG_FORCE_RPMC_OP1_POS)
			  | BIT(MEC_ESPI_TAF_HW_CFG_FLAG_PFEN_POS)),
		.qtaps_sel = 0u,
		.flash_pd_timeout = MEC_TAF_PD_TIMEOUT_1000MS,
		.flash_pd_min_interval = MEC_TAF_PD_MIN_INTERVAL_10US,
		.qspi_cs_timing = 0u,
		.gen_descr_ids = MEC_TAF_GEN_DESCR_IDS(12u, 14u, 14u),
		.cs0_descr_ids = MEC_TAF_FL_DCFG(0, 2, 3),
		.cs1_descr_ids = MEC_TAF_FL_DCFG(6, 8, 9),
		.tag_map = { 0u, 0u, 0u },
		.qspi_descrs = {
			MEC_TAF_CM_RD_ADDR24_QUAD(0),
			MEC_TAF_CM_ENTRY_ADDR24_QUAD(3),
			MEC_TAF_CM_RD_ADDR24_QUAD(6),
			MEC_TAF_CM_ENTRY_ADDR24_QUAD(9),
			MEC_TAF_EXIT_CM_QUAD(12),
			MEC_TAF_POLL_STATUS(14),
		},
	},
	.flash_cfgs = taf_flash_cfgs,
};

const struct espi_taf_cfg test_espi_taf_cfg_01 = {
	.nflash_devices = 1u,
	.hwcfg = {
		.version = 3u,
		.qspi_freq_mhz = 12u,
		.qspi_cpha = 0u,
		.flags = (BIT(MEC_ESPI_TAF_HW_CFG_FLAG_FREQ_POS)
			  | BIT(MEC_ESPI_TAF_HW_CFG_FLAG_FORCE_RPMC_OP1_POS)
			  | BIT(MEC_ESPI_TAF_HW_CFG_FLAG_PFEN_POS)),
		.qtaps_sel = 0u,
		.flash_pd_timeout = MEC_TAF_PD_TIMEOUT_1000MS,
		.flash_pd_min_interval = MEC_TAF_PD_MIN_INTERVAL_10US,
		.qspi_cs_timing = 0u,
		.gen_descr_ids = MEC_TAF_GEN_DESCR_IDS(12u, 14u, 14u),
		.cs0_descr_ids = MEC_TAF_FL_DCFG(0, 2, 3),
		.cs1_descr_ids = MEC_TAF_FL_DCFG(6, 8, 9),
		.tag_map = { 0u, 0u, 0u },
		.qspi_descrs = {
			MEC_TAF_CM_RD_ADDR24_QUAD(0),
			MEC_TAF_CM_ENTRY_ADDR24_QUAD(3),
			MEC_TAF_CM_RD_ADDR24_QUAD(6),
			MEC_TAF_CM_ENTRY_ADDR24_QUAD(9),
			MEC_TAF_EXIT_CM_QUAD(12),
			MEC_TAF_POLL_STATUS(14),
		},
	},
	.flash_cfgs = taf_flash_cfgs,
};

const struct espi_taf_cfg test_espi_taf_cfg_10 = {
	.nflash_devices = 1u,
	.hwcfg = {
		.version = 3u,
		.qspi_freq_mhz = 12u,
		.qspi_cpha = 0u,
		.flags = (BIT(MEC_ESPI_TAF_HW_CFG_FLAG_FREQ_POS)
			  | BIT(MEC_ESPI_TAF_HW_CFG_FLAG_FORCE_RPMC_OP1_POS)
			  | BIT(MEC_ESPI_TAF_HW_CFG_FLAG_PFEN_POS)),
		.qtaps_sel = 0u,
		.flash_pd_timeout = MEC_TAF_PD_TIMEOUT_1000MS,
		.flash_pd_min_interval = MEC_TAF_PD_MIN_INTERVAL_10US,
		.qspi_cs_timing = 0u,
		.gen_descr_ids = MEC_TAF_GEN_DESCR_IDS(12u, 14u, 14u),
		.cs0_descr_ids = MEC_TAF_FL_DCFG(0, 2, 3),
		.cs1_descr_ids = MEC_TAF_FL_DCFG(6, 8, 9),
		.tag_map = { 0u, 0u, 0u },
		.qspi_descrs = {
			MEC_TAF_CM_RD_ADDR24_QUAD(0),
			MEC_TAF_CM_ENTRY_ADDR24_QUAD(3),
			MEC_TAF_CM_RD_ADDR24_QUAD(6),
			MEC_TAF_CM_ENTRY_ADDR24_QUAD(9),
			MEC_TAF_EXIT_CM_QUAD(12),
			MEC_TAF_POLL_STATUS(14),
		},
	},
	.flash_cfgs = &taf_flash_cfgs[1],
};

const struct espi_taf_cfg test_espi_taf_cfg_rpmc_11 = {
	.nflash_devices = 2u,
	.hwcfg = {
		.version = 3u,
		.qspi_freq_mhz = 12u,
		.qspi_cpha = 0u,
		.flags = (BIT(MEC_ESPI_TAF_HW_CFG_FLAG_FREQ_POS)
			  | BIT(MEC_ESPI_TAF_HW_CFG_FLAG_FORCE_RPMC_OP1_POS)
			  | BIT(MEC_ESPI_TAF_HW_CFG_FLAG_PFEN_POS)),
		.qtaps_sel = 0u,
		.flash_pd_timeout = MEC_TAF_PD_TIMEOUT_1000MS,
		.flash_pd_min_interval = MEC_TAF_PD_MIN_INTERVAL_10US,
		.qspi_cs_timing = 0u,
		.gen_descr_ids = MEC_TAF_GEN_DESCR_IDS(12u, 14u, 14u),
		.cs0_descr_ids = MEC_TAF_FL_DCFG(0, 2, 3),
		.cs1_descr_ids = MEC_TAF_FL_DCFG(6, 8, 9),
		.tag_map = { 0u, 0u, 0u },
		.qspi_descrs = {
			MEC_TAF_CM_RD_ADDR32_QUAD(0),
			MEC_TAF_CM_ENTRY_ADDR32_QUAD(3),
			MEC_TAF_CM_RD_ADDR32_QUAD(6),
			MEC_TAF_CM_ENTRY_ADDR32_QUAD(9),
			MEC_TAF_EXIT_CM_QUAD(12),
			MEC_TAF_POLL_STATUS(14),
		},
	},
	.flash_cfgs = taf_flash_rpmc_cfgs,
};

const struct espi_taf_cfg test_espi_taf_cfg_rpmc_01 = {
	.nflash_devices = 1u,
	.hwcfg = {
		.version = 3u,
		.qspi_freq_mhz = 12u,
		.qspi_cpha = 0u,
		.flags = (BIT(MEC_ESPI_TAF_HW_CFG_FLAG_FREQ_POS)
			  | BIT(MEC_ESPI_TAF_HW_CFG_FLAG_FORCE_RPMC_OP1_POS)
			  | BIT(MEC_ESPI_TAF_HW_CFG_FLAG_PFEN_POS)),
		.qtaps_sel = 0u,
		.flash_pd_timeout = MEC_TAF_PD_TIMEOUT_1000MS,
		.flash_pd_min_interval = MEC_TAF_PD_MIN_INTERVAL_10US,
		.qspi_cs_timing = 0u,
		.gen_descr_ids = MEC_TAF_GEN_DESCR_IDS(12u, 14u, 14u),
		.cs0_descr_ids = MEC_TAF_FL_DCFG(0, 2, 3),
		.cs1_descr_ids = MEC_TAF_FL_DCFG(6, 8, 9),
		.tag_map = { 0u, 0u, 0u },
		.qspi_descrs = {
			MEC_TAF_CM_RD_ADDR32_QUAD(0),
			MEC_TAF_CM_ENTRY_ADDR32_QUAD(3),
			MEC_TAF_CM_RD_ADDR32_QUAD(6),
			MEC_TAF_CM_ENTRY_ADDR32_QUAD(9),
			MEC_TAF_EXIT_CM_QUAD(12),
			MEC_TAF_POLL_STATUS(14),
		},
	},
	.flash_cfgs = taf_flash_rpmc_cfgs,
};

const struct espi_taf_cfg test_espi_taf_cfg_rpmc_10 = {
	.nflash_devices = 1u,
	.hwcfg = {
		.version = 3u,
		.qspi_freq_mhz = 12u,
		.qspi_cpha = 0u,
		.flags = (BIT(MEC_ESPI_TAF_HW_CFG_FLAG_FREQ_POS)
			  | BIT(MEC_ESPI_TAF_HW_CFG_FLAG_FORCE_RPMC_OP1_POS)
			  | BIT(MEC_ESPI_TAF_HW_CFG_FLAG_PFEN_POS)),
		.qtaps_sel = 0u,
		.flash_pd_timeout = MEC_TAF_PD_TIMEOUT_1000MS,
		.flash_pd_min_interval = MEC_TAF_PD_MIN_INTERVAL_10US,
		.qspi_cs_timing = 0u,
		.gen_descr_ids = MEC_TAF_GEN_DESCR_IDS(12u, 14u, 14u),
		.cs0_descr_ids = MEC_TAF_FL_DCFG(0, 2, 3),
		.cs1_descr_ids = MEC_TAF_FL_DCFG(6, 8, 9),
		.tag_map = { 0u, 0u, 0u },
		.qspi_descrs = {
			MEC_TAF_CM_RD_ADDR32_QUAD(0),
			MEC_TAF_CM_ENTRY_ADDR32_QUAD(3),
			MEC_TAF_CM_RD_ADDR32_QUAD(6),
			MEC_TAF_CM_ENTRY_ADDR32_QUAD(9),
			MEC_TAF_EXIT_CM_QUAD(12),
			MEC_TAF_POLL_STATUS(14),
		},
	},
	.flash_cfgs = &taf_flash_rpmc_cfgs[1],
};

static const struct espi_taf_pr w25r128_protect_regions[2] = {
	{
		.start = 0xe00000U,
		.size =  0x100000U,
		.req_bm_we = BIT(MCHP_TAF_REQ_FROM_HOST_PCH_ME),
		.req_bm_rd = BIT(MCHP_TAF_REQ_FROM_HOST_PCH_ME),
		.pr_num = 1U,
		.flags = (MCHP_TAF_PR_FLAG_ENABLE | MCHP_TAF_PR_FLAG_LOCK),
	},
	{
		.start = 0xf00000U,
		.size =  0x100000U,
		.req_bm_we = BIT(MCHP_TAF_REQ_FROM_HOST_PCH_LAN),
		.req_bm_rd = BIT(MCHP_TAF_REQ_FROM_HOST_PCH_LAN),
		.pr_num = 2U,
		.flags = (MCHP_TAF_PR_FLAG_ENABLE | MCHP_TAF_PR_FLAG_LOCK),
	},
};

static const struct espi_taf_protection taf_pr_w25r128 = {
	.nregions = 2U,
	.pregions = w25r128_protect_regions
};

const struct device *app_get_taf_device(void)
{
	return espi_taf_dev;
}

const struct espi_taf_protection *get_taf_rpmc_flash_pr(void)
{
	return &taf_pr_w25r128;
}

static void espi_taf_callback(const struct device *dev, struct espi_callback *cb,
			      struct espi_event evt)
{
	if (evt.evt_type == ESPI_BUS_TAF_NOTIFICATION) {
		if (evt.evt_details & ESPI_TAF_ECP_READ) {
			LOG_INF("eSPI TAF read done: 0x%0x", evt.evt_data);
		}
		if (evt.evt_details & ESPI_TAF_ECP_WRITE) {
			LOG_INF("eSPI TAF write done: 0x%0x", evt.evt_data);
		}
		if (evt.evt_details & ESPI_TAF_ECP_ERASE) {
			LOG_INF("eSPI TAF erase done: 0x%0x", evt.evt_data);
		}
		if (evt.evt_details & ESPI_TAF_ECP_RPMC_OP1) {
			LOG_INF("eSPI TAF RPMC OP1 done: 0x%0x", evt.evt_data);
		}
		if (evt.evt_details & ESPI_TAF_ECP_RPMC_OP2) {
			LOG_INF("eSPI TAF RPMC OP2 done: 0x%0x", evt.evt_data);
		}
		if (evt.evt_details & ESPI_TAF_HOST_PROTOCOL_ERR) {
			LOG_ERR("eSPI TAF error from Host: 0x%0x", evt.evt_data);
		}
	}

	espi_taf_cb_event.evt_type = evt.evt_type;
	espi_taf_cb_event.evt_details = evt.evt_details;
	espi_taf_cb_event.evt_data = evt.evt_data;
	espi_taf_cb_fired = true;
}

void espi_taf_cb_data_init(void)
{
	espi_taf_cb_fired = false;
	espi_taf_cb_event.evt_type = 0;
	espi_taf_cb_event.evt_details = 0;
	espi_taf_cb_event.evt_data = 0;
}

bool espi_taf_cb_has_fired(void)
{
	return espi_taf_cb_fired;
}

void espi_taf_cb_get_event(struct espi_event *ev)
{
	ev->evt_type = espi_taf_cb_event.evt_type;
	ev->evt_details = espi_taf_cb_event.evt_details;
	ev->evt_data = espi_taf_cb_event.evt_data;
}

/* cfg_flags bit[0] = Config flash attached to nCS0
 *           bit[1] = Config flash attached to nCS1
 */
int sample_espi_taf_config(uint32_t cfg_flags)
{
	struct espi_taf_cfg const *tcfg = NULL;
	uint32_t jedec_id = 0;
	int ret = 0;
	uint8_t flash_cfg_bm = (uint8_t)(cfg_flags & 0x03u);

	if (!flash_cfg_bm) {
		LOG_ERR("Sample eSPI TAF config has no flashes specified!");
		return -EINVAL;
	}

	if (!device_is_ready(espi_taf_dev)) {
		LOG_ERR("eSPI TAF device is not ready!");
		return -EIO;
	}

	espi_taf_cb_data_init();

	jedec_id = app_flash_jedec_id(0);
	if (jedec_id == W25R256JV_JEDEC_ID) {
		if (flash_cfg_bm == 0x01u) {
			tcfg = &test_espi_taf_cfg_rpmc_01;
		} else if (flash_cfg_bm == 0x02u) {
			tcfg = &test_espi_taf_cfg_rpmc_10;
		} else {
			tcfg = &test_espi_taf_cfg_rpmc_11;
		}
	} else {
		if (flash_cfg_bm == 0x01u) {
			tcfg = &test_espi_taf_cfg_01;
		} else if (flash_cfg_bm == 0x02u) {
			tcfg = &test_espi_taf_cfg_10;
		} else {
			tcfg = &test_espi_taf_cfg_11;
		}
	}

	ret = espi_taf_config(espi_taf_dev, tcfg);
	if (ret) {
		LOG_ERR("eSPI TAF configuration returned error (%d)", ret);
		return -EIO;
	}

	ret = espi_taf_set_protection_regions(espi_taf_dev, &taf_pr_w25r128);
	if (ret) {
		LOG_ERR("eSPI TAF set PR error (%d)", ret);
		return -EIO;
	}

	espi_taf_init_callback(&espi_taf_cb_s, espi_taf_callback, ESPI_BUS_TAF_NOTIFICATION);

	ret = espi_taf_add_callback(espi_taf_dev, &espi_taf_cb_s);
	if (ret) {
		LOG_ERR("Failed to add eSPI TAF callback: %d", ret);
		return ret;
	}

	ret = espi_taf_activate(espi_taf_dev);
	if (ret) {
		LOG_ERR("eSPI TAF activate returned error (%d)", ret);
		return -EIO;
	}

	LOG_INF("eSPI TAF is Activated");

	return 0;
}


int sample_espi_taf_read_test1(uint32_t flash_addr, uint8_t *expected_data,
			       uint32_t expected_data_len)
{
	struct espi_taf_packet taf_pkt = {0};
	uint32_t flags = 0;
	int ret = 0;

	if (!expected_data || (expected_data_len > sizeof(taf_test_buf1))) {
		return -EINVAL;
	}

	memset(taf_test_buf1, 0x55, sizeof(taf_test_buf1));

	taf_pkt.flash_addr = flash_addr,
	taf_pkt.buf = taf_test_buf1,
	taf_pkt.len = expected_data_len,

	ret = espi_taf_flash_read(espi_taf_dev, &taf_pkt, flags);
	if (ret) {
		return ret;
	}

	ret = memcmp(taf_test_buf1, expected_data, expected_data_len);
	if (ret) {
		LOG_ERR("TAF flash read data mismatch!");
		LOG_HEXDUMP_ERR(expected_data, expected_data_len, "Expected data");
		LOG_HEXDUMP_ERR(taf_test_buf1, expected_data_len, "TAF read data");
		ret = -EIO;
	}

	return ret;
}

int sample_espi_taf_erase_test1(uint32_t flash_addr, uint32_t erase_size)
{
	struct espi_taf_packet taf_pkt = {0};
	uint32_t offset = 0, pktlen = 0, flags = 0;
	int ret = 0;

	if ((erase_size != 4096u) && (erase_size != (32u * 1024u))
		&& (erase_size != (64u * 1024u))) {
		return -EINVAL;
	}

	memset(taf_test_buf1, 0x55, sizeof(taf_test_buf1));

	taf_pkt.flash_addr = flash_addr;
	taf_pkt.buf = NULL;
	taf_pkt.len = erase_size;

	ret = espi_taf_flash_erase(espi_taf_dev, &taf_pkt, flags);
	if (ret) {
		return ret;
	}

	while (offset < erase_size) {

		pktlen = TAF_TEST_BUF1_LEN;
		if ((erase_size - offset) < pktlen) {
			pktlen = erase_size - offset;
		}

		taf_pkt.flash_addr = flash_addr + offset;
		taf_pkt.buf = taf_test_buf1;
		taf_pkt.len = pktlen;

		ret = espi_taf_flash_read(espi_taf_dev, &taf_pkt, flags);
		if (ret) {
			return ret;
		}

		for (uint32_t n = 0; n > pktlen; n++) {
			if (taf_test_buf1[n] != 0xffu) {
				LOG_ERR("App TAF erase failure at offset 0x%0x", offset);
				return -EIO;
			}
		}

		offset += pktlen;
	}

	return ret;
}

int sample_espi_taf_write_test1(uint32_t flash_addr, uint8_t *data, uint32_t data_len)
{
	struct espi_taf_packet taf_pkt = {0};
	uint32_t flags = 0;
	int ret = 0;

	if (!data || !data_len) {
		return -EINVAL;
	}

	taf_pkt.flash_addr = flash_addr;
	taf_pkt.buf = data;
	taf_pkt.len = data_len;

	ret = espi_taf_flash_write(espi_taf_dev, &taf_pkt, flags);
	if (ret) {
		return ret;
	}

	memset(taf_test_buf1, 0x55, data_len);

	taf_pkt.flash_addr = flash_addr;
	taf_pkt.buf = taf_test_buf1;
	taf_pkt.len = data_len;

	ret = espi_taf_flash_read(espi_taf_dev, &taf_pkt, flags);
	if (ret) {
		LOG_ERR("eSPI TAF write test 1 read back API error (%d)", ret);
		return ret;
	}

	ret = memcmp(data, taf_test_buf1, data_len);
	if (ret) {
		return -EIO;
	}

	return ret;
}
```

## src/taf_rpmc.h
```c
/*
 * Copyright (c) 2024 Microchip Technology Inc.
 *
 * SPDX-License-Identifier: Apache-2.0
 */

#ifndef __TAF_RPMC_H__
#define __TAF_RPMC_H__

#include <device_mec5.h>
#include <mec_espi_taf.h>

#include <zephyr/device.h>
#include <zephyr/devicetree.h>
#include <zephyr/kernel.h>
#include <zephyr/drivers/espi.h>
#include <zephyr/drivers/espi_taf.h>
#include <zephyr/drivers/espi/espi_mchp_mec5.h>
#include <zephyr/drivers/espi/espi_taf_mchp_mec5.h>

#define TAF_TEST_FLAG_FLASH_KNOWN	BIT(0)
#define TAF_TEST_FLAG_FLASH_HAS_RPMC	BIT(1)

#define TAF_CB_ECP_DONE 1
#define TAF_CB_BUS_MON  2

#define RPMC_OP1_CMD_SET_ROOT_KEY		0x00
#define RPMC_OP1_CMD_UPDATE_HMAC_KEY		0x01
#define RPMC_OP1_CMD_INCR_COUNTER		0x02
#define RPMC_OP1_CMD_REQUEST_COUNTER		0x03

#define RPMC_OP1_CMD_SET_ROOT_KEY_SIZE		64u
#define RPMC_OP1_CMD_UPDATE_HMAC_KEY_SIZE	40u
#define RPMC_OP1_CMD_INCR_COUNTER_SIZE		40u
#define RPMC_OP1_CMD_REQ_COUNTER_SIZE		48u

#define RPMC_OP2_CMD_READ_STS_DATA_SIZE		49u

/* RPMC flash extended status values. Complicated, refer to spec. */
#define RPMC_EXT_STATUS_PWR_ON_STATE		0x00U
#define RPMC_EXT_STATUS_PWR_ON_STATE_MSK	0xffU

#define RPMC_EXT_STATUS_OP1_SUCCESS		BIT(7)

#define RPMC_EXT_STATUS_BUSY			BIT(0)

/* Root Key overwrite error: OP1 Set Root Key
 * Monotonic counter uninitialize: OP1 Update HMAC key
 */
#define RPMC_EXT_STATUS_RK_INIT_ERROR		BIT(1)

/* Signature mis-match, counter address out of range,
 * truncated signature mis-match, bad command type,
 * or incorrect payload size.
 */
#define RPMC_EXT_STATUS_BAD_PARAM_ERROR		BIT(2)

/* HMAC key or monotonic counter unitialized */
#define RPMC_EXT_STATUS_HK_INIT_ERROR		BIT(3)

/* Counter data mis-match error */
#define RPMC_EXT_STATUS_CNTR_DATA_ERROR		BIT(4)

#define RPMC_EXT_STATUS_FATAL_ERROR		BIT(5)

/* initialize RPMC keys used by the application. Must be called before
 * any RPMC operations.
 */
int rpmc_init_keys(void);

int taf_rpmc_check_root_key(uint8_t counter_id, uint8_t *rpmc_ext_status);

/* for all counters */
int taf_rpmc_check_root_keys(uint8_t num_rpmc_counters);

int espi_taf_rpmc_test1(void);

#endif /* __TAF_RPMC_H__ */
```
